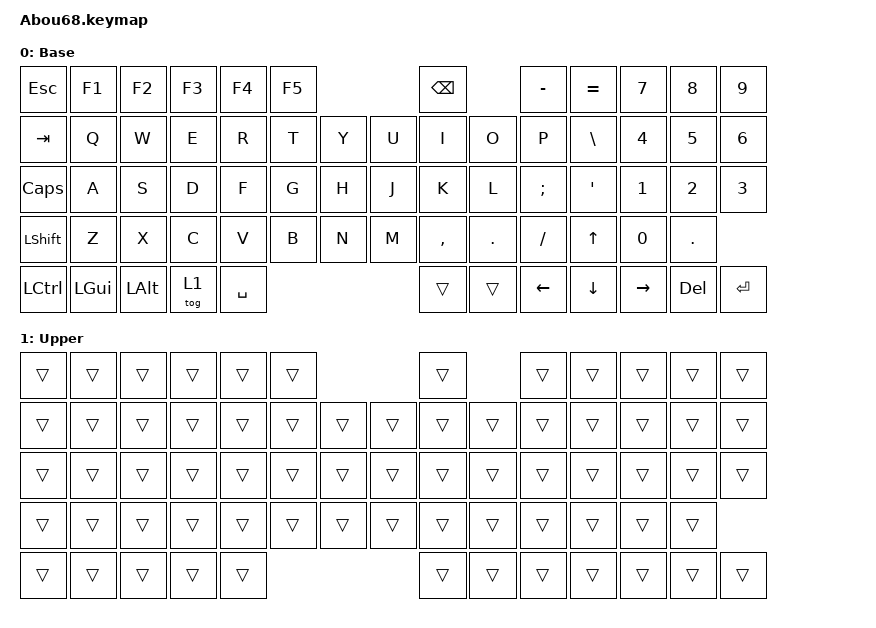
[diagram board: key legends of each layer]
#include <behaviors.dtsi>
#include <dt-bindings/zmk/keys.h>

/ {
    keymap {
        compatible = "zmk,keymap";

        Base {
            bindings = <
&kp ESC    &kp F1    &kp F2    &kp F3  &kp F4     &kp F5                &kp BSPC            &kp MINUS  &kp EQUAL  &kp N7     &kp N8   &kp N9
&kp TAB    &kp Q     &kp W     &kp E   &kp R      &kp T   &kp Y  &kp U  &kp I      &kp O    &kp P      &kp BSLH   &kp N4     &kp N5   &kp N6
&kp CAPS   &kp A     &kp S     &kp D   &kp F      &kp G   &kp H  &kp J  &kp K      &kp L    &kp SEMI   &kp SQT    &kp N1     &kp N2   &kp N3
&kp LSHFT  &kp Z     &kp X     &kp C   &kp V      &kp B   &kp N  &kp M  &kp COMMA  &kp DOT  &kp FSLH   &kp UP     &kp N0     &kp DOT
&kp LCTRL  &kp LGUI  &kp LALT  &tog 1  &kp SPACE                        &trans     &trans   &kp LEFT   &kp DOWN   &kp RIGHT  &kp DEL  &kp RET
            >;
        };

        Upper {
            bindings = <
&trans  &trans  &trans  &trans  &trans  &trans                  &trans          &trans  &trans  &trans  &trans  &trans
&trans  &trans  &trans  &trans  &trans  &trans  &trans  &trans  &trans  &trans  &trans  &trans  &trans  &trans  &trans
&trans  &trans  &trans  &trans  &trans  &trans  &trans  &trans  &trans  &trans  &trans  &trans  &trans  &trans  &trans
&trans  &trans  &trans  &trans  &trans  &trans  &trans  &trans  &trans  &trans  &trans  &trans  &trans  &trans
&trans  &trans  &trans  &trans  &trans                          &trans  &trans  &trans  &trans  &trans  &trans  &trans
            >;
        };
    };
};
